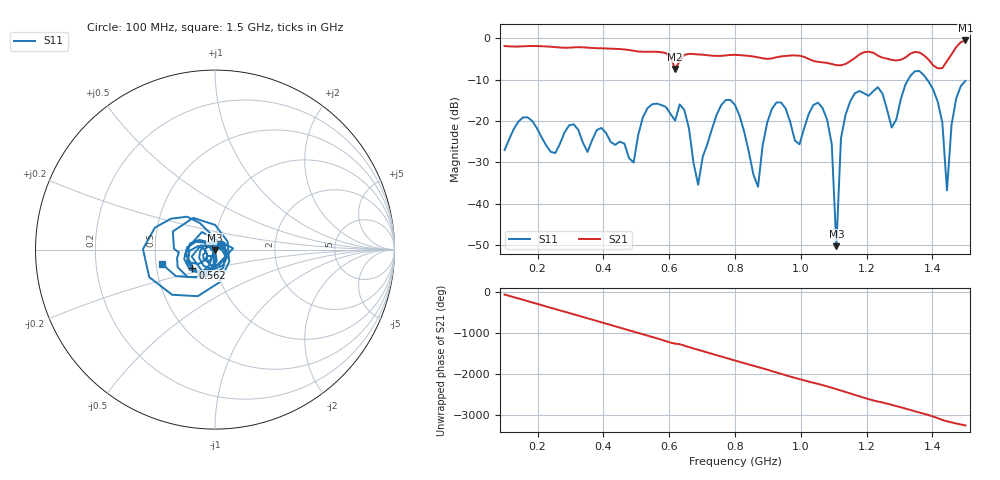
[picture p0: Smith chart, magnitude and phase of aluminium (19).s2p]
! NanoVNA-App
! Date: 2025-09-25 14:55:25
! Start: 100MHz Stop: 1,5GHz Points: 101
! S-Parameter data: F S11 S21 S12 S22
# Hz S RI R 50
!  Frequency  S11_Real  S11_Imag  S21_Real  S21_Imag  S12_Real  S12_Imag  S22_Real  S22_Imag
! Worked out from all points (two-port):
!   101 points, 100 MHz to 1.5 GHz, reference 50 ohm
!   highest |S21| = -0.56 dB at 1.5 GHz (marker M1); lowest = -7.4 dB at 618 MHz (marker M2)
!   |S21| within 3 dB of the highest: start of sweep to 586.5 MHz; 1.188 GHz to 1.221 GHz (33.38 MHz wide, 2.77 % of centre) (the widest 2 of 4)
!   lowest |S11| = -50.2 dB at 1.108 GHz (marker M3), VSWR 1.01, Z = 50 - j0.305 ohm
!   |S11| at or under -10 dB: start of sweep to 1.326 GHz; 1.384 GHz to end of sweep
!   S12 and S22 are empty: the file has one direction only
!   S11 on the Smith chart (normalised r, x): 100 MHz: 1.07, +0.06; 562 MHz: 0.76, -0.16; 1.5 GHz: 0.54, -0.10
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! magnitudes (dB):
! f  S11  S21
! 100 MHz  -27.0  -1.9
! 338 MHz  -25.2  -2.2
! 492 MHz  -30.0  -3.0
! 562 MHz  -15.8  -3.3
! 576 MHz  -16.1  -3.4
! 618 MHz  -19.9  -7.4
! 688 MHz  -35.4  -3.9
! 800 MHz  -16.1  -4.0
! 870 MHz  -35.9  -4.6
! 912 MHz  -17.1  -4.9
! 996 MHz  -25.6  -4.2
! 1.038 GHz  -16.2  -5.5
! 1.094 GHz  -25.6  -6.2
! 1.108 GHz  -50.2  -6.5
! 1.122 GHz  -24.1  -6.6
! 1.15 GHz  -15.3  -5.6
! 1.276 GHz  -21.6  -5.3
! 1.374 GHz  -9.0  -4.1
! 1.43 GHz  -20.4  -7.2
! 1.444 GHz  -36.8  -5.5
! 1.458 GHz  -20.9  -3.9
! 1.5 GHz  -10.3  -0.6
